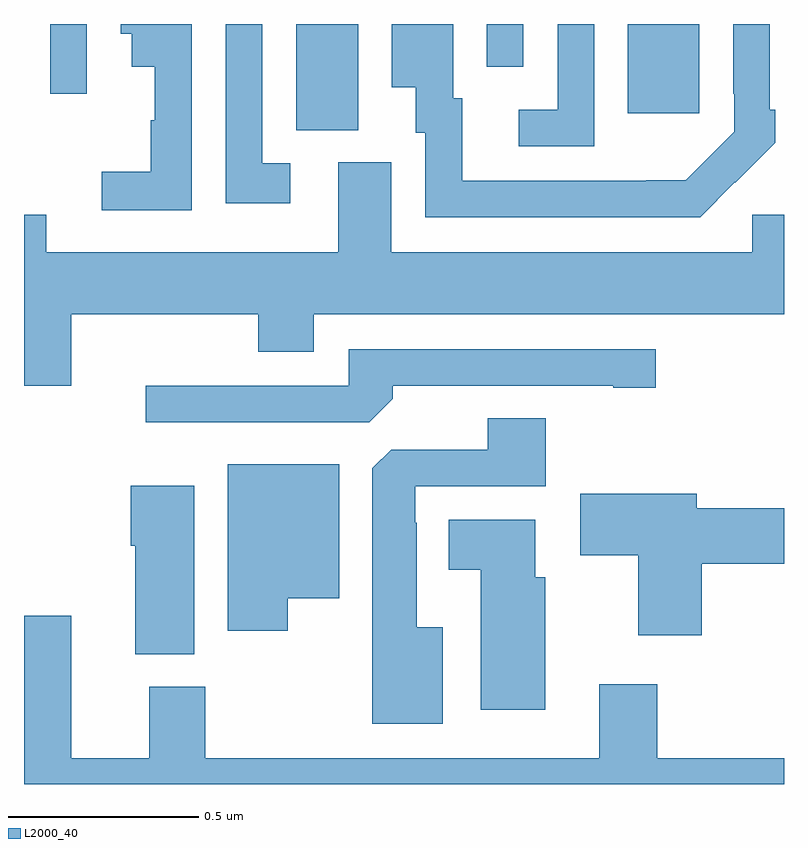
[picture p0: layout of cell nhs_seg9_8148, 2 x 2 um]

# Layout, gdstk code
import gdstk
lib = gdstk.Library(unit=1e-6, precision=1e-09)
def R(c, l, rs):  # rectangles x0, y0, x1, y1
    for r in rs: c.add(gdstk.rectangle(r[:2], r[2:], *l))
def P(c, l, *ps):  # polygons
    for p in ps: c.add(gdstk.Polygon(p, *l))
L2000_40 = (2000, 40)

nhs_seg9_8148 = lib.new_cell('nhs_seg9_8148')
R(nhs_seg9_8148, L2000_40, [(213.716,1214.221,213.88,1214.5), (214.589,1214.265,214.777,1214.5), (213.069,1214.316,213.165,1214.5), (214.218,1214.388,214.314,1214.5)])
P(nhs_seg9_8148, L2000_40, [(214.871,1214.083),(214.872,1214.082),(214.977,1214.187),(214.977,1214.275),(214.962,1214.275),(214.962,1214.5),(214.866,1214.5),(214.866,1214.317),(214.869,1214.317),(214.869,1214.217),(214.741,1214.089),(214.637,1214.089),(214.637,1214.088),(214.153,1214.088),(214.153,1214.304),(214.129,1214.304),(214.129,1214.5),(213.968,1214.5),(213.968,1214.333),(214.031,1214.333),(214.031,1214.214),(214.056,1214.214),(214.056,1213.992),(214.78,1213.992)],
  [(214.5,1214.5),(214.404,1214.5),(214.404,1214.274),(214.302,1214.274),(214.302,1214.178),(214.5,1214.178)],
  [(213.7,1214.133),(213.627,1214.133),(213.627,1214.5),(213.531,1214.5),(213.531,1214.028),(213.7,1214.028)],
  [(213.441,1214.491),(213.442,1214.491),(213.442,1214.5),(213.254,1214.5),(213.254,1214.474),(213.284,1214.474),(213.284,1214.387),(213.344,1214.387),(213.344,1214.247),(213.333,1214.247),(213.333,1214.111),(213.204,1214.111),(213.204,1214.01),(213.441,1214.01)],
  [(213.124,1213.736),(213.616,1213.736),(213.616,1213.637),(213.763,1213.637),(213.763,1213.736),(215,1213.736),(215,1213.998),(214.917,1213.998),(214.917,1213.9),(213.967,1213.9),(213.967,1214.136),(213.827,1214.136),(213.827,1213.9),(213.058,1213.9),(213.058,1213.998),(213,1213.998),(213,1213.548),(213.124,1213.548)],
  [(213.971,1213.514),(213.971,1213.548),(214.55,1213.548),(214.55,1213.543),(214.663,1213.543),(214.663,1213.644),(213.855,1213.644),(213.855,1213.548),(213.321,1213.548),(213.321,1213.452),(213.909,1213.452)],
  [(214.102,1212.913),(214.033,1212.913),(214.033,1213.187),(214.029,1213.187),(214.029,1213.284),(214.373,1213.284),(214.373,1213.463),(214.22,1213.463),(214.22,1213.38),(213.966,1213.38),(213.917,1213.331),(213.917,1212.659),(214.102,1212.659)],
  [(213.694,1212.989),(213.829,1212.989),(213.829,1213.342),(213.536,1213.342),(213.536,1212.903),(213.694,1212.903)],
  [(213.448,1213.285),(213.281,1213.285),(213.281,1213.127),(213.293,1213.127),(213.293,1212.841),(213.448,1212.841)],
  [(214.784,1213.079),(215,1213.079),(215,1213.226),(214.771,1213.226),(214.771,1213.264),(214.464,1213.264),(214.464,1213.102),(214.616,1213.102),(214.616,1212.891),(214.784,1212.891)],
  [(214.372,1213.044),(214.345,1213.044),(214.345,1213.195),(214.118,1213.195),(214.118,1213.064),(214.202,1213.064),(214.202,1212.696),(214.372,1212.696)],
  [(215,1212.568),(214.667,1212.568),(214.667,1212.763),(214.514,1212.763),(214.514,1212.568),(213.477,1212.568),(213.477,1212.756),(213.329,1212.756),(213.329,1212.568),(213.124,1212.568),(213.124,1212.943),(213,1212.943),(213,1212.5),(215,1212.5)])

lib.write_gds('nhs_seg9_8148.gds')
